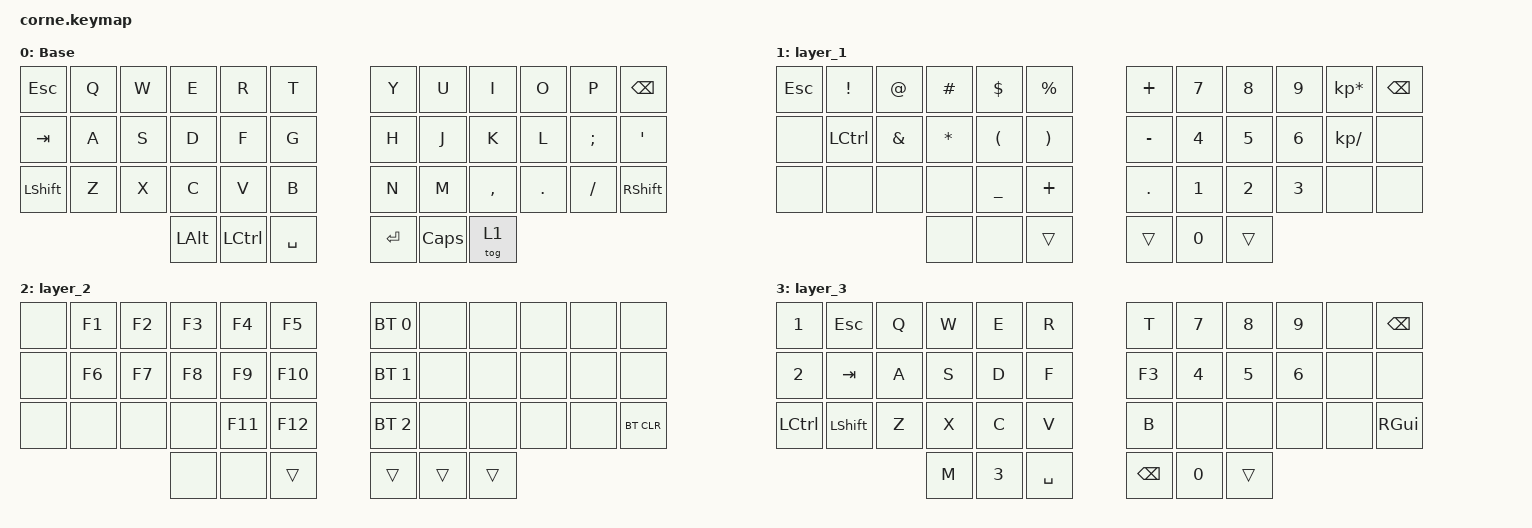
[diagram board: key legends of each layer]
/*
 * Copyright (c) 2020 The ZMK Contributors
 *
 * SPDX-License-Identifier: MIT
 */

#include <behaviors.dtsi>
#include <dt-bindings/zmk/bt.h>
#include <dt-bindings/zmk/keys.h>

/ {
    combos {
        compatible = "zmk,combos";

        Fkeys {
            bindings = <&tog 2>;
            key-positions = <40 41>;
        };

        Game {
            bindings = <&tog 3>;
            key-positions = <39 40 41>;
        };
    };

    keymap {
        compatible = "zmk,keymap";

        default_layer {
            // -----------------------------------------------------------------------------------------
            // |  TAB |  Q  |  W  |  E  |  R  |  T  |   |  Y  |  U   |  I  |  O  |  P  | BKSP |
            // | CTRL |  A  |  S  |  D  |  F  |  G  |   |  H  |  J   |  K  |  L  |  ;  |  '   |
            // | SHFT |  Z  |  X  |  C  |  V  |  B  |   |  N  |  M   |  ,  |  .  |  /  | ESC  |
            //                    | GUI | LWR | SPC |   | ENT | RSE  | ALT |

            display-name = "Base";
            bindings = <
&kp ESCAPE  &kp Q  &kp W  &kp E         &kp R             &kp T        &kp Y    &kp U         &kp I      &kp O    &kp P     &kp BSPC
&kp TAB     &kp A  &kp S  &kp D         &kp F             &kp G        &kp H    &kp J         &kp K      &kp L    &kp SEMI  &kp SQT
&kp LSHFT   &kp Z  &kp X  &kp C         &kp V             &kp B        &kp N    &kp M         &kp COMMA  &kp DOT  &kp FSLH  &kp RIGHT_SHIFT
                          &kp LEFT_ALT  &kp LEFT_CONTROL  &kp SPACE    &kp RET  &kp CAPSLOCK  &tog 1
            >;
        };

        layer_1 {
            bindings = <
&kp ESCAPE  &kp EXCLAMATION  &kp AT_SIGN    &kp HASH      &kp DOLLAR            &kp PERCENT              &kp PLUS    &kp N7  &kp N8  &kp N9  &kp KP_MULTIPLY  &kp BACKSPACE
&none       &kp LCTRL        &kp AMPERSAND  &kp ASTERISK  &kp LEFT_PARENTHESIS  &kp RIGHT_PARENTHESIS    &kp MINUS   &kp N4  &kp N5  &kp N6  &kp KP_SLASH     &none
&none       &none            &none          &none         &kp UNDERSCORE        &kp PLUS                 &kp PERIOD  &kp N1  &kp N2  &kp N3  &none            &none
                                            &none         &none                 &trans                   &trans      &kp N0  &trans
            >;
        };

        layer_2 {
            bindings = <
&none  &kp F1  &kp F2  &kp F3  &kp F4   &kp F5     &bt BT_SEL 0  &none   &none   &none  &none  &none
&none  &kp F6  &kp F7  &kp F8  &kp F9   &kp F10    &bt BT_SEL 1  &none   &none   &none  &none  &none
&none  &none   &none   &none   &kp F11  &kp F12    &bt BT_SEL 2  &none   &none   &none  &none  &bt BT_CLR
                       &none   &none    &trans     &trans        &trans  &trans
            >;
        };

        layer_3 {
            bindings = <
&kp NUMBER_1      &kp ESCAPE      &kp Q  &kp W  &kp E         &kp R        &kp T          &kp N7  &kp N8  &kp N9        &none  &kp BACKSPACE
&kp NUMBER_2      &kp TAB         &kp A  &kp S  &kp D         &kp F        &kp F3         &kp N4  &kp N5  &kp NUMBER_6  &none  &none
&kp LEFT_CONTROL  &kp LEFT_SHIFT  &kp Z  &kp X  &kp C         &kp V        &kp B          &none   &none   &none         &none  &kp RGUI
                                         &kp M  &kp NUMBER_3  &kp SPACE    &kp BACKSPACE  &kp N0  &trans
            >;
        };
    };
};
